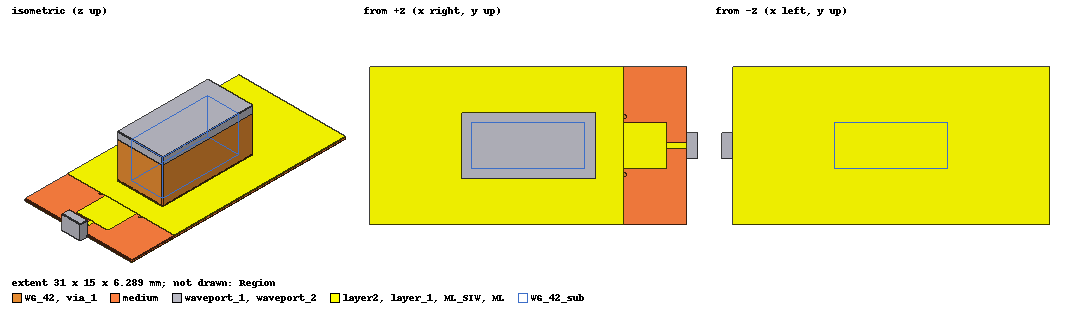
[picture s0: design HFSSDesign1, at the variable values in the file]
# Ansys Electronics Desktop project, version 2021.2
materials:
  vacuum: permittivity=1
  copper: permeability=0.999991 conductivity=58000000
  Rogers RO4350 (tm): permittivity=3.66 dielectric_loss_tangent=0.004
  air: permittivity=1.0006 permeability=1.0000004
  pec: conductivity=1e+30

design HFSSDesign1 (HFSS, DrivenModal, model units mm)
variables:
  m_thickness = (10*0.0254) mm
  m_width = 15mm
  m_length = 30mm
  WG__length = 10.668mm
  WG_width = 4.318mm
  WG_high = 5mm
  line_thickness = 0.035mm
  WG_thickness = 1mm
  via_dius = 0.2mm
  layer_1_length = 24mm
  ML_SIW_width = 4.369mm
  ML_SIW_length = 4.064mm
  ML_width = 0.508mm
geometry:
  medium [Rogers RO4350 (tm)] = box(corner=(-m_length / 2, -m_width/2, - m_thickness/2), size=(m_length, m_width, m_thickness))
  WG_42 [copper] = box(corner=(-WG__length/2 - WG_thickness, -WG_width/2 - WG_thickness, m_thickness/2), size=(WG__length + WG_thickness*2, WG_width + WG_thickness*2, WG_high))
  layer_1 [copper] = box(corner=(-m_length / 2, -m_width/2, m_thickness/2), size=(layer_1_length, m_width, line_thickness))
  WG_42_sub [air] = box(corner=(-WG__length/2, -WG_width/2, m_thickness/2), size=(WG__length, WG_width, WG_high))
  via = cylinder(axis=Z, base_centre=(-(5.334+0.6) mm, -5.5mm/2, -m_thickness/2), radius=via_dius, height=m_thickness)
  via_1 [copper], via_2..via_8 = via.duplicate_along_line(step=(0mm, 0.6mm, 0mm), total=10)  # copies kept: 1..8
  via_10..via_34 = via.duplicate_along_line(step=(0.6mm, 0mm, 0mm), total=26)
  via_1.unite(via_2..via_8)
  via_10.unite(via_11..via_34, via)
  via_10_1 = via_10.duplicate_mirror(point=(0mm, 0mm, 5.127mm), normal=(0mm, -1mm, 0mm))
  via_1.unite(via_10, via_10_1)
  ML_SIW [copper] = box(corner=(layer_1_length - m_length / 2, - ML_SIW_width/2, m_thickness/2), size=(ML_SIW_length, ML_SIW_width, line_thickness))
  ML [copper] = box(corner=(layer_1_length - m_length / 2  + ML_SIW_length, - ML_width/2, m_thickness/2), size=(m_length/2 - (layer_1_length - m_length / 2  + ML_SIW_length ), ML_width, line_thickness))
  layer2 [copper] = box(corner=(-m_length / 2, -m_width/2, - m_thickness/2 - line_thickness), size=(m_length, m_width, line_thickness))
  waveport_1 [pec] = box(corner=(-WG__length/2 - WG_thickness, -WG_width/2 - WG_thickness, m_thickness/2 + WG_high), size=(WG__length + WG_thickness*2, WG_width + WG_thickness*2, 1mm))
  waveport1 = rectangle(corner=(-WG__length/2, -WG_width/2, m_thickness/2 + WG_high), x_size=WG__length, y_size=WG_width)
  waveport2 = rectangle(corner=(m_length /2, - 5* ML_width /2, - m_thickness/2 - line_thickness), y_size=5* ML_width, z_size=8* m_thickness)
  waveport_2 [pec] = box(corner=(m_length /2, - 5* ML_width /2, - m_thickness/2 - line_thickness), size=(1mm, 5* ML_width, 8*m_thickness))
  Region [air] = region(percentage_offset=50 on all sides)
  WG_42_1 = WG_42.copy()
  WG_42_sub_1 = WG_42_sub.copy()
  layer_1.subtract(WG_42_1, WG_42_sub_1)
  WG_42_sub_2 = WG_42_sub.copy()
  WG_42.subtract(WG_42_sub_2)
  via_1_1 = via_1.copy()
  medium.subtract(via_1_1)
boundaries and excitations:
  Rad1: Radiation Objects=Region
  1: Wave Port Objects=waveport1 NumModes=1 Modes{Mode1{CharImp=Zpi}}
  2: Wave Port Objects=waveport2 NumModes=1 Modes{Mode1{CharImp=Zpi}}
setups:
  Setup1: HfssDriven Frequency=24GHz MaxDeltaS=0.02 MaximumPasses=6 MinimumPasses=1 MinimumConvergedPasses=1 PercentRefinement=30 BasisOrder=1 PortAccuracy=2
    sweep Sweep: 18GHz to 30GHz step 0.1GHz; Type=Interpolating InterpTolerance=0.5 InterpMaxSolns=250 InterpUsePortImped=false PassivityErrorTolerance=0.0001
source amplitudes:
  1:1: 1W 0deg
  2:1: 0W 0deg
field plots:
  Mag_E1: E Field in Region on Setup1 : LastAdaptive at Freq=24GHz Phase=0deg
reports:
  S Parameter Plot 1: dB(S(1,1)), dB(S(2,1)) vs Freq on Setup1 : Sweep
